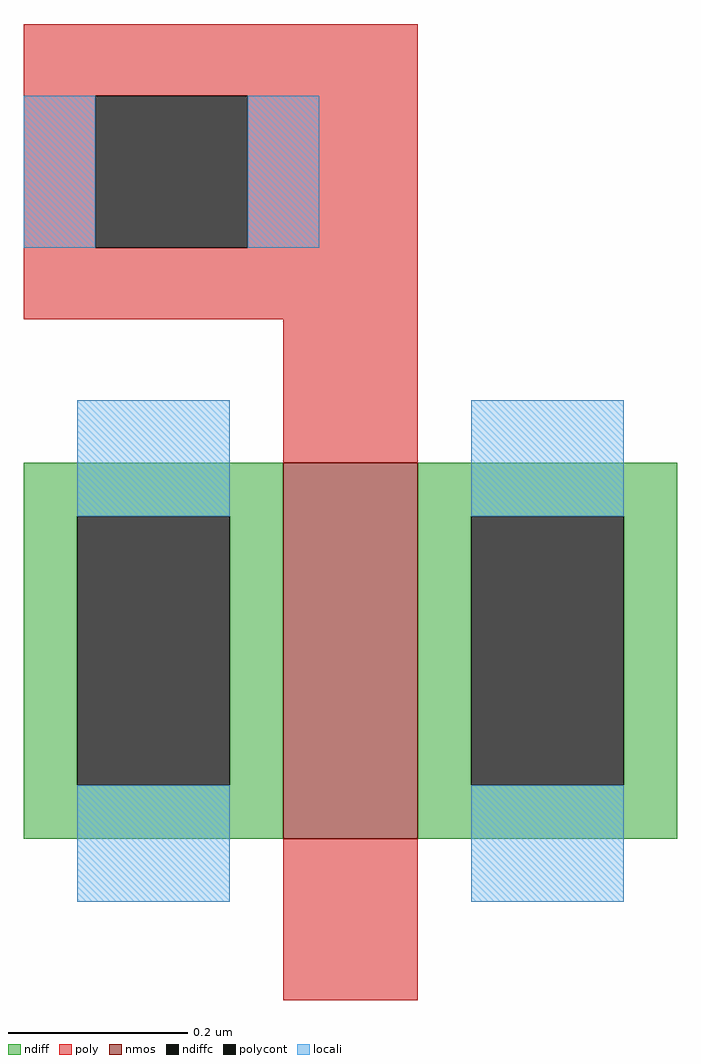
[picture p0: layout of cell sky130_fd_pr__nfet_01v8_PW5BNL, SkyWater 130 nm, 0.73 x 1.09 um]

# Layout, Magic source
magic
tech sky130A
magscale 1 2
<< nmos >>
rect -15 -79 15 5
<< ndiff >>
rect -73 -7 -15 5
rect -73 -67 -61 -7
rect -27 -67 -15 -7
rect -73 -79 -15 -67
rect 15 -7 73 5
rect 15 -67 27 -7
rect 61 -67 73 -7
rect 15 -79 73 -67
<< ndiffc >>
rect -61 -67 -27 -7
rect 27 -67 61 -7
<< poly >>
rect -73 87 15 103
rect -73 53 -57 87
rect -23 53 15 87
rect -73 37 15 53
rect -15 5 15 37
rect -15 -115 15 -79
<< polycont >>
rect -57 53 -23 87
<< locali >>
rect -73 53 -57 87
rect -23 53 -7 87
rect -61 -7 -27 19
rect -61 -93 -27 -67
rect 27 -7 61 19
rect 27 -93 61 -67
<< properties >>
string gencell sky130_fd_pr__nfet_01v8
string library sky130
string parameters w 0.460 l 0.150 m 1 nf 1 diffcov 100 polycov 100 guard 0 glc 0 grc 0 gtc 0 gbc 0 tbcov 100 rlcov 100 topc 1 botc 0 poverlap 0 doverlap 1 lmin 0.15 wmin 0.42 compatible {sky130_fd_pr__nfet_01v8 sky130_fd_pr__nfet_01v8_lvt  sky130_fd_bs_flash__special_sonosfet_star  sky130_fd_pr__nfet_g5v0d10v5 sky130_fd_pr__nfet_05v0_nvt  sky130_fd_pr__nfet_03v3_nvt} full_metal 0 viasrc 100 viadrn 100 viagate 100 viagb 0 viagr 0 viagl 0 viagt 0
<< end >>
